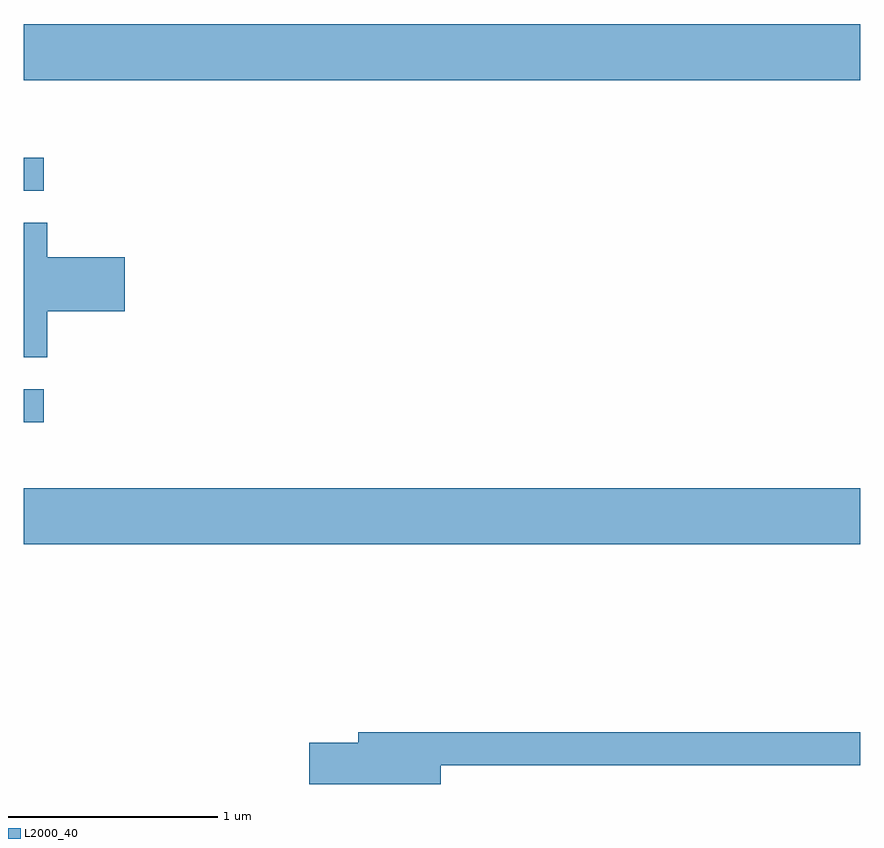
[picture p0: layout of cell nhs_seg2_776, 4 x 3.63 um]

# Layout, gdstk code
import gdstk
lib = gdstk.Library(unit=1e-6, precision=1e-09)
def R(c, l, rs):  # rectangles x0, y0, x1, y1
    for r in rs: c.add(gdstk.rectangle(r[:2], r[2:], *l))
def P(c, l, *ps):  # polygons
    for p in ps: c.add(gdstk.Polygon(p, *l))
L2000_40 = (2000, 40)

nhs_seg2_776 = lib.new_cell('nhs_seg2_776')
R(nhs_seg2_776, L2000_40, [(207.611,1034.996,211.611,1035.264), (207.611,1035.581,207.708,1035.739), (207.611,1036.686,207.708,1036.844), (207.611,1037.216,211.611,1037.484)])
P(nhs_seg2_776, L2000_40, [(207.724,1036.111),(208.094,1036.111),(208.094,1036.369),(207.724,1036.369),(207.724,1036.534),(207.611,1036.534),(207.611,1035.891),(207.724,1035.891)],
  [(209.604,1033.941),(211.611,1033.941),(211.611,1034.099),(209.211,1034.099),(209.211,1034.049),(208.976,1034.049),(208.976,1033.851),(209.604,1033.851)])

lib.write_gds('nhs_seg2_776.gds')
